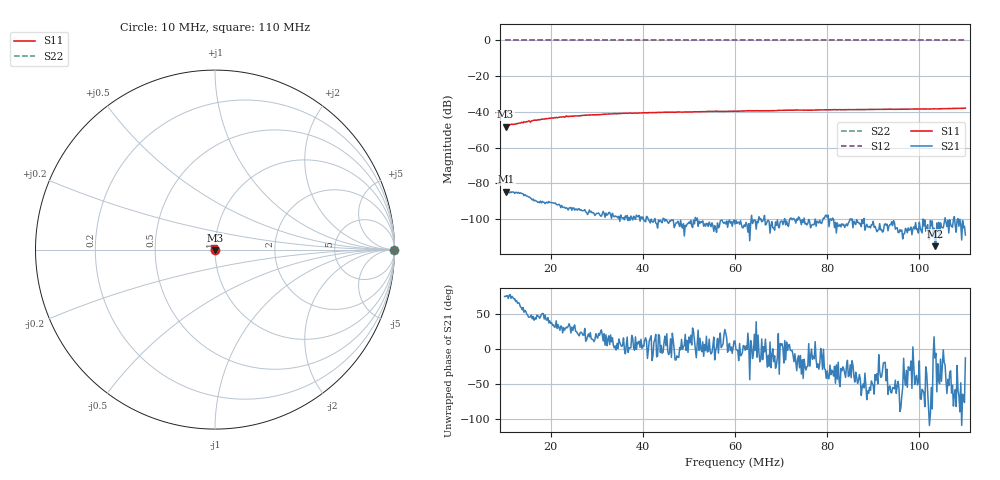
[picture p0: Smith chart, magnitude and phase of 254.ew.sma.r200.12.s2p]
! Anritsu VNA Master:  Model: MS2036C/10/77
! SN:  1601066
! /card0/usr/254.ew.sma.r200.12.s2p
! Existing Calibration Information:
! TYPE:  Current Settings,  Active Cal Settings
! TIME:  12/20/2017 12:41:40 PM,  12/20/2017 12:32:09 PM
! INTERNAL TEMP:  45.0 C,  45.8 C
! # POINTS:  501,  501
! START FREQ:  10.000 MHz,  10.000 MHz
! STOP FREQ:  110.000 MHz,  110.000 MHz
! SOURCE POWER:  High,  High
! IFBW:  100 Hz,  100 Hz
! AVG FACTOR:  1 ,  1
! REF PLANE 1:  0 mm,  0 mm
! REF PLANE 2:  0 mm,  0 mm
! CAL TYPE:  Full S11,  Full S11
! CAL METHOD:  SOLT,  SOLT
! CAL LINE TYPE:  Coax,  Coax
! DUT PORT 1:  N-Conn(F),  N-Conn(F)
! DUT PORT 2:  K-Conn(F),  K-Conn(F)
! CAL STATUS:  OK: Accuracy High,  --
# GHZ S DB R 50.0
! FREQ.GHZ  S11DB  S11A  S21DB  S21A  S12DB  S12A  S22DB  S22A
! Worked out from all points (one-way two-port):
!   501 points, 10 MHz to 110 MHz, reference 50 ohm
!   highest |S21| = -84.61 dB at 10.4 MHz (marker M1); lowest = -115.1 dB at 103.4 MHz (marker M2)
!   lowest |S11| = -48.2 dB at 10.2 MHz (marker M3), VSWR 1.01, Z = 49.9 - j0.37 ohm
!   |S11| at or under -10 dB: start of sweep to end of sweep
!   |S22| runs from 0.0 to 0.0 dB; largest |S21 - S12| = 1
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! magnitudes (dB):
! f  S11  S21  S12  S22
! 10 MHz  -47.8  -84.7  0.0  0.0
! 10.2 MHz  -48.2  -84.9  0.0  0.0
! 10.4 MHz  -47.3  -84.6  0.0  0.0
! 11.4 MHz  -46.9  -85.1  0.0  0.0
! 12.2 MHz  -46.8  -85.6  0.0  0.0
! 15 MHz  -45.4  -87.2  0.0  0.0
! 15.8 MHz  -45.0  -88.5  0.0  0.0
! 18.2 MHz  -44.0  -90.0  0.0  0.0
! 22.4 MHz  -42.8  -92.3  0.0  0.0
! 26.8 MHz  -41.9  -95.2  0.0  0.0
! 34 MHz  -40.9  -98.1  0.0  0.0
! 43.4 MHz  -40.2  -100.4  0.0  0.0
! 55.6 MHz  -39.6  -103.6  0.0  0.0
! 60 MHz  -39.6  -102.7  0.0  0.0
! 63.4 MHz  -39.3  -102.5  0.0  0.0
! 67.8 MHz  -39.3  -103.3  0.0  0.0
! 71.6 MHz  -39.0  -104.1  0.0  0.0
! 76.8 MHz  -39.0  -102.9  0.0  0.0
! 81.2 MHz  -38.7  -99.3  0.0  0.0
! 93.4 MHz  -38.5  -103.9  0.0  0.0
! 103.4 MHz  -38.3  -115.1  0.0  0.0
! 110 MHz  -37.9  -108.8  0.0  0.0
